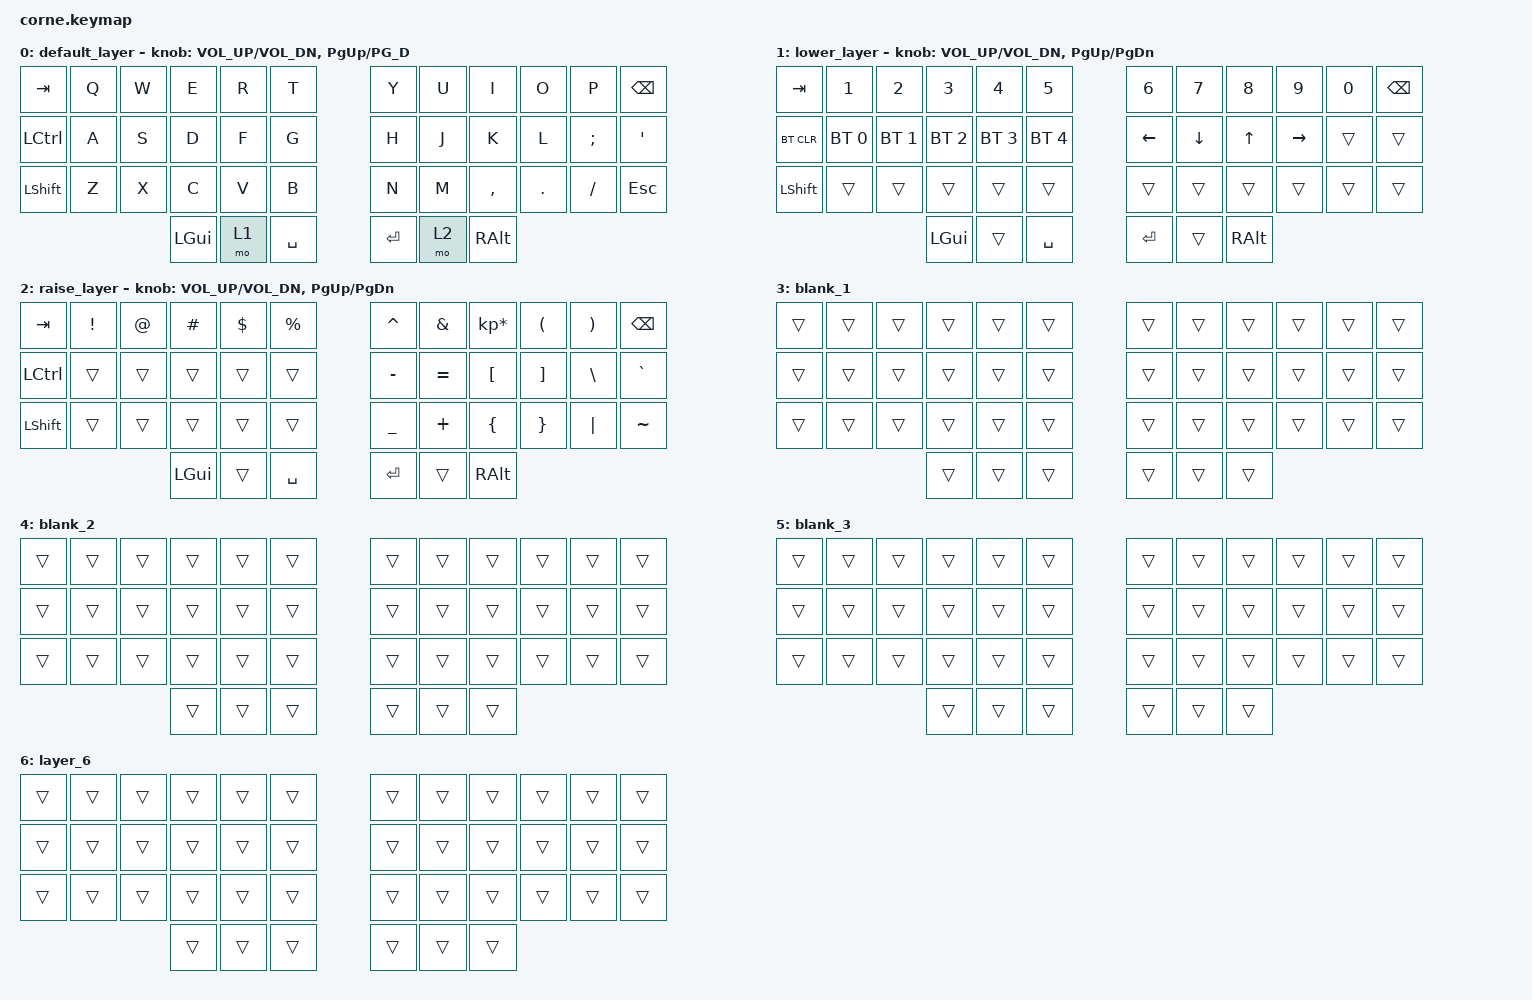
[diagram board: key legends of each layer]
/*
 * Copyright (c) 2020 The ZMK Contributors
 *
 * SPDX-License-Identifier: MIT
 */

#include <behaviors.dtsi>
#include <dt-bindings/zmk/bt.h>
#include <dt-bindings/zmk/keys.h>

/ {
    sensors {
        compatible = "zmk,keymap-sensors";
        sensors = <&left_encoder &right_encoder>;
        triggers-per-rotation = <20>;
    };
};

&led_strip { chain-length = <27>; };

&nice_view_spi { cs-gpios = <&pro_micro 8 GPIO_ACTIVE_HIGH>; };

/ {
    keymap {
        compatible = "zmk,keymap";

        default_layer {
            // -----------------------------------------------------------------------------------------
            // |  TAB |  Q  |  W  |  E  |  R  |  T  |   |  Y  |  U   |  I  |  O  |  P  | BKSP |
            // | CTRL |  A  |  S  |  D  |  F  |  G  |   |  H  |  J   |  K  |  L  |  ;  |  '   |
            // | SHFT |  Z  |  X  |  C  |  V  |  B  |   |  N  |  M   |  ,  |  .  |  /  | ESC  |
            //                    | GUI | LWR | SPC |   | ENT | RSE  | ALT |

            bindings = <
&kp TAB    &kp Q  &kp W  &kp E     &kp R  &kp T        &kp Y    &kp U  &kp I      &kp O    &kp P     &kp BSPC
&kp LCTRL  &kp A  &kp S  &kp D     &kp F  &kp G        &kp H    &kp J  &kp K      &kp L    &kp SEMI  &kp SQT
&kp LSHFT  &kp Z  &kp X  &kp C     &kp V  &kp B        &kp N    &kp M  &kp COMMA  &kp DOT  &kp FSLH  &kp ESC
                         &kp LGUI  &mo 1  &kp SPACE    &kp RET  &mo 2  &kp RALT
            >;

            sensor-bindings = <
                        &inc_dec_kp C_VOL_UP C_VOL_DN
                        &inc_dec_kp PG_UP PG_D
            >;
        };

        lower_layer {
            // -----------------------------------------------------------------------------------------
            // |  TAB |  1  |  2  |  3  |  4  |  5  |   |  6  |  7  |  8  |  9  |  0  | BKSP |
            // | BTCLR| BT1 | BT2 | BT3 | BT4 | BT5 |   | LFT | DWN |  UP | RGT |     |      |
            // | SHFT |     |     |     |     |     |   |     |     |     |     |     |      |
            //                    | GUI |     | SPC |   | ENT |     | ALT |

            bindings = <
&kp TAB     &kp N1        &kp N2        &kp N3        &kp N4        &kp N5          &kp N6    &kp N7    &kp N8    &kp N9     &kp N0  &kp BSPC
&bt BT_CLR  &bt BT_SEL 0  &bt BT_SEL 1  &bt BT_SEL 2  &bt BT_SEL 3  &bt BT_SEL 4    &kp LEFT  &kp DOWN  &kp UP    &kp RIGHT  &trans  &trans
&kp LSHFT   &trans        &trans        &trans        &trans        &trans          &trans    &trans    &trans    &trans     &trans  &trans
                                        &kp LGUI      &trans        &kp SPACE       &kp RET   &trans    &kp RALT
            >;

            sensor-bindings = <
                                &inc_dec_kp C_VOL_UP C_VOL_DN 
                                &inc_dec_kp PG_UP PG_DN
            >;
        };

        raise_layer {
            // -----------------------------------------------------------------------------------------
            // |  TAB |  !  |  @  |  #  |  $  |  %  |   |  ^  |  &  |  *  |  (  |  )  | BKSP |
            // | CTRL |     |     |     |     |     |   |  -  |  =  |  [  |  ]  |  \  |  `   |
            // | SHFT |     |     |     |     |     |   |  _  |  +  |  {  |  }  | "|" |  ~   |
            //                    | GUI |     | SPC |   | ENT |     | ALT |

            bindings = <
&kp TAB    &kp EXCL  &kp AT  &kp HASH  &kp DLLR  &kp PRCNT    &kp CARET  &kp AMPS   &kp KP_MULTIPLY  &kp LPAR  &kp RPAR  &kp BSPC
&kp LCTRL  &trans    &trans  &trans    &trans    &trans       &kp MINUS  &kp EQUAL  &kp LBKT         &kp RBKT  &kp BSLH  &kp GRAVE
&kp LSHFT  &trans    &trans  &trans    &trans    &trans       &kp UNDER  &kp PLUS   &kp LBRC         &kp RBRC  &kp PIPE  &kp TILDE
                             &kp LGUI  &trans    &kp SPACE    &kp RET    &trans     &kp RALT
            >;

            sensor-bindings = <
                                &inc_dec_kp C_VOL_UP C_VOL_DN
                                &inc_dec_kp PG_UP PG_DN
            >;
        };

        blank_1 {
            // -----------------------------------------------------------------------------------------
            // Blank layer - edit in ZMK Studio
            // -----------------------------------------------------------------------------------------

            bindings = <
&trans  &trans  &trans  &trans  &trans  &trans    &trans  &trans  &trans  &trans  &trans  &trans
&trans  &trans  &trans  &trans  &trans  &trans    &trans  &trans  &trans  &trans  &trans  &trans
&trans  &trans  &trans  &trans  &trans  &trans    &trans  &trans  &trans  &trans  &trans  &trans
                        &trans  &trans  &trans    &trans  &trans  &trans
            >;
        };

        blank_2 {
            // -----------------------------------------------------------------------------------------
            // Blank layer - edit in ZMK Studio
            // -----------------------------------------------------------------------------------------

            bindings = <
&trans  &trans  &trans  &trans  &trans  &trans    &trans  &trans  &trans  &trans  &trans  &trans
&trans  &trans  &trans  &trans  &trans  &trans    &trans  &trans  &trans  &trans  &trans  &trans
&trans  &trans  &trans  &trans  &trans  &trans    &trans  &trans  &trans  &trans  &trans  &trans
                        &trans  &trans  &trans    &trans  &trans  &trans
            >;
        };

        blank_3 {
            // -----------------------------------------------------------------------------------------
            // Blank layer - edit in ZMK Studio
            // -----------------------------------------------------------------------------------------

            bindings = <
&trans  &trans  &trans  &trans  &trans  &trans    &trans  &trans  &trans  &trans  &trans  &trans
&trans  &trans  &trans  &trans  &trans  &trans    &trans  &trans  &trans  &trans  &trans  &trans
&trans  &trans  &trans  &trans  &trans  &trans    &trans  &trans  &trans  &trans  &trans  &trans
                        &trans  &trans  &trans    &trans  &trans  &trans
            >;
        };

        layer_6 {
            bindings = <
&trans  &trans  &trans  &trans  &trans  &trans    &trans  &trans  &trans  &trans  &trans  &trans
&trans  &trans  &trans  &trans  &trans  &trans    &trans  &trans  &trans  &trans  &trans  &trans
&trans  &trans  &trans  &trans  &trans  &trans    &trans  &trans  &trans  &trans  &trans  &trans
                        &trans  &trans  &trans    &trans  &trans  &trans
            >;
        };
    };
};
